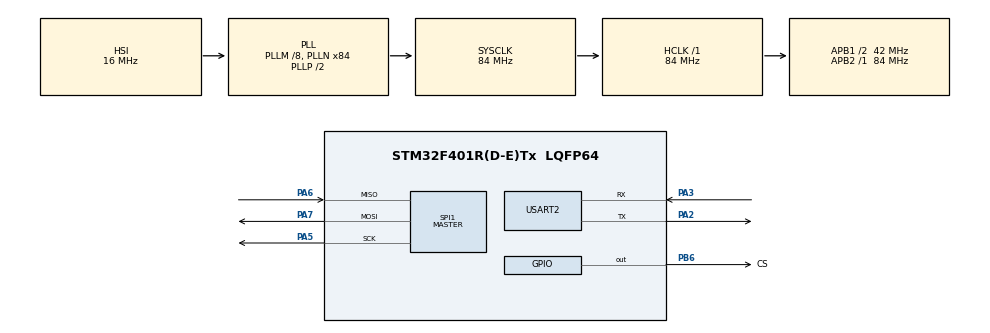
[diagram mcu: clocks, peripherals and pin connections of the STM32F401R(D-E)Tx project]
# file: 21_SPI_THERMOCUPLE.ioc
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Mcu.Family=STM32F4
Mcu.Name=STM32F401R(D-E)Tx
Mcu.Package=LQFP64
NVIC.PriorityGroup=NVIC_PRIORITYGROUP_4
PA13.Mode=Serial_Wire
PA13.Signal=SYS_JTMS-SWDIO
PA14.Mode=Serial_Wire
PA14.Signal=SYS_JTCK-SWCLK
PA2.Mode=Asynchronous
PA2.Signal=USART2_TX
PA3.Mode=Asynchronous
PA3.Signal=USART2_RX
PA5.Mode=Full_Duplex_Master
PA5.Signal=SPI1_SCK
PA6.Mode=Full_Duplex_Master
PA6.Signal=SPI1_MISO
PA7.Mode=Full_Duplex_Master
PA7.Signal=SPI1_MOSI
PB6.GPIO_Label=CS
PB6.PinState=GPIO_PIN_SET
PB6.Signal=GPIO_Output
PH0\ -\ OSC_IN.Mode=HSE-External-Clock-Source
PH0\ -\ OSC_IN.Signal=RCC_OSC_IN
PH1\ -\ OSC_OUT.Mode=HSE-External-Clock-Source
PH1\ -\ OSC_OUT.Signal=RCC_OSC_OUT
ProjectManager.HeapSize=0x200
ProjectManager.StackSize=0x400
ProjectManager.TargetToolchain=STM32CubeIDE
RCC.48MHZClocksFreq_Value=42000000
RCC.AHBFreq_Value=84000000
RCC.APB1CLKDivider=RCC_HCLK_DIV2
RCC.APB1Freq_Value=42000000
RCC.APB1TimFreq_Value=84000000
RCC.APB2Freq_Value=84000000
RCC.APB2TimFreq_Value=84000000
RCC.CortexFreq_Value=84000000
RCC.HCLKFreq_Value=84000000
RCC.HSE_VALUE=8000000
RCC.HSI_VALUE=16000000
RCC.LSE_VALUE=32768
RCC.PLLM=8
RCC.PLLN=84
RCC.SYSCLKFreq_VALUE=84000000
RCC.SYSCLKSource=RCC_SYSCLKSOURCE_PLLCLK
RCC.VCOOutputFreq_Value=168000000
SPI1.BaudRatePrescaler=SPI_BAUDRATEPRESCALER_16
SPI1.Direction=SPI_DIRECTION_2LINES
SPI1.Mode=SPI_MODE_MASTER
SPI1.VirtualType=VM_MASTER
USART2.VirtualMode=VM_ASYNC
board=custom

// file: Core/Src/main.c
/* USER CODE BEGIN Header */
/**
  ******************************************************************************
  * @file           : main.c
  * @brief          : Main program body
  ******************************************************************************
  * @attention
  *
  * Copyright (c) 2023 STMicroelectronics.
  * All rights reserved.
  *
  * This software is licensed under terms that can be found in the LICENSE file
  * in the root directory of this software component.
  * If no LICENSE file comes with this software, it is provided AS-IS.
  *
  ******************************************************************************
  */
/* USER CODE END Header */
#include "main.h"

/* USER CODE BEGIN Includes */
#include "string.h"
#include "stdio.h"
/* USER CODE END Includes */

SPI_HandleTypeDef hspi1;

UART_HandleTypeDef huart2;

/* USER CODE BEGIN PV */
uint8_t tramaH, tramaL;
uint8_t buffer[2];
uint16_t Trama;
float temperatura;
/* USER CODE END PV */

void SystemClock_Config(void);
static void MX_GPIO_Init(void);
static void MX_SPI1_Init(void);
static void MX_USART2_UART_Init(void);
/* USER CODE BEGIN PFP */
int __io_putchar(int ch){
	 HAL_UART_Transmit(&huart2,(const uint8_t *)&ch, 1, HAL_MAX_DELAY);
	 return ch;
}
/* USER CODE END PFP */

int main(void)
{

  /* MCU Configuration--------------------------------------------------------*/

  /* Reset of all peripherals, Initializes the Flash interface and the Systick. */
  HAL_Init();

  /* Configure the system clock */
  SystemClock_Config();

  /* Initialize all configured peripherals */
  MX_GPIO_Init();
  MX_SPI1_Init();
  MX_USART2_UART_Init();

  /* Infinite loop */
  /* USER CODE BEGIN WHILE */
  while (1)
  {

	  //iniciamos la comunicación
	  HAL_GPIO_WritePin(CS_GPIO_Port, CS_Pin, RESET); //enviamos al esclavo a nivel bajo

	  HAL_SPI_Receive(&hspi1, buffer, 2, 10); //10ms
	  tramaH = buffer[0];
	  tramaL = buffer[1];
	  Trama = (tramaH<<8)+tramaL;

	  //terminamos la comunicación
	  HAL_GPIO_WritePin(CS_GPIO_Port, CS_Pin, SET); //enviamos al esclavo a nivel alto

	  if(Trama & 0x04){
		  printf("Desconectado\n\r");

	  }
	  Trama >>= 3;
	  temperatura = Trama*0.25;
	  printf("Temperatura: %0.3f\n\r",temperatura);
	  HAL_Delay(500);
    /* USER CODE END WHILE */

  }
}

void SystemClock_Config(void)
{
  RCC_OscInitTypeDef RCC_OscInitStruct = {0};
  RCC_ClkInitTypeDef RCC_ClkInitStruct = {0};

  /** Configure the main internal regulator output voltage
  */
  __HAL_RCC_PWR_CLK_ENABLE();
  __HAL_PWR_VOLTAGESCALING_CONFIG(PWR_REGULATOR_VOLTAGE_SCALE2);

  /** Initializes the RCC Oscillators according to the specified parameters
  * in the RCC_OscInitTypeDef structure.
  */
  RCC_OscInitStruct.OscillatorType = RCC_OSCILLATORTYPE_HSI;
  RCC_OscInitStruct.HSIState = RCC_HSI_ON;
  RCC_OscInitStruct.HSICalibrationValue = RCC_HSICALIBRATION_DEFAULT;
  RCC_OscInitStruct.PLL.PLLState = RCC_PLL_ON;
  RCC_OscInitStruct.PLL.PLLSource = RCC_PLLSOURCE_HSI;
  RCC_OscInitStruct.PLL.PLLM = 8;
  RCC_OscInitStruct.PLL.PLLN = 84;
  RCC_OscInitStruct.PLL.PLLP = RCC_PLLP_DIV2;
  RCC_OscInitStruct.PLL.PLLQ = 4;
  if (HAL_RCC_OscConfig(&RCC_OscInitStruct) != HAL_OK)
  {
    Error_Handler();
  }

  /** Initializes the CPU, AHB and APB buses clocks
  */
  RCC_ClkInitStruct.ClockType = RCC_CLOCKTYPE_HCLK|RCC_CLOCKTYPE_SYSCLK
                              |RCC_CLOCKTYPE_PCLK1|RCC_CLOCKTYPE_PCLK2;
  RCC_ClkInitStruct.SYSCLKSource = RCC_SYSCLKSOURCE_PLLCLK;
  RCC_ClkInitStruct.AHBCLKDivider = RCC_SYSCLK_DIV1;
  RCC_ClkInitStruct.APB1CLKDivider = RCC_HCLK_DIV2;
  RCC_ClkInitStruct.APB2CLKDivider = RCC_HCLK_DIV1;

  if (HAL_RCC_ClockConfig(&RCC_ClkInitStruct, FLASH_LATENCY_2) != HAL_OK)
  {
    Error_Handler();
  }
}

static void MX_SPI1_Init(void)
{

  /* SPI1 parameter configuration*/
  hspi1.Instance = SPI1;
  hspi1.Init.Mode = SPI_MODE_MASTER;
  hspi1.Init.Direction = SPI_DIRECTION_2LINES;
  hspi1.Init.DataSize = SPI_DATASIZE_8BIT;
  hspi1.Init.CLKPolarity = SPI_POLARITY_LOW;
  hspi1.Init.CLKPhase = SPI_PHASE_1EDGE;
  hspi1.Init.NSS = SPI_NSS_SOFT;
  hspi1.Init.BaudRatePrescaler = SPI_BAUDRATEPRESCALER_16;
  hspi1.Init.FirstBit = SPI_FIRSTBIT_MSB;
  hspi1.Init.TIMode = SPI_TIMODE_DISABLE;
  hspi1.Init.CRCCalculation = SPI_CRCCALCULATION_DISABLE;
  hspi1.Init.CRCPolynomial = 10;
  if (HAL_SPI_Init(&hspi1) != HAL_OK)
  {
    Error_Handler();
  }

}

static void MX_USART2_UART_Init(void)
{

  huart2.Instance = USART2;
  huart2.Init.BaudRate = 115200;
  huart2.Init.WordLength = UART_WORDLENGTH_8B;
  huart2.Init.StopBits = UART_STOPBITS_1;
  huart2.Init.Parity = UART_PARITY_NONE;
  huart2.Init.Mode = UART_MODE_TX_RX;
  huart2.Init.HwFlowCtl = UART_HWCONTROL_NONE;
  huart2.Init.OverSampling = UART_OVERSAMPLING_16;
  if (HAL_UART_Init(&huart2) != HAL_OK)
  {
    Error_Handler();
  }

}

static void MX_GPIO_Init(void)
{
  GPIO_InitTypeDef GPIO_InitStruct = {0};

  /* GPIO Ports Clock Enable */
  __HAL_RCC_GPIOH_CLK_ENABLE();
  __HAL_RCC_GPIOA_CLK_ENABLE();
  __HAL_RCC_GPIOB_CLK_ENABLE();

  /*Configure GPIO pin Output Level */
  HAL_GPIO_WritePin(CS_GPIO_Port, CS_Pin, GPIO_PIN_SET);

  /*Configure GPIO pin : CS_Pin */
  GPIO_InitStruct.Pin = CS_Pin;
  GPIO_InitStruct.Mode = GPIO_MODE_OUTPUT_PP;
  GPIO_InitStruct.Pull = GPIO_NOPULL;
  GPIO_InitStruct.Speed = GPIO_SPEED_FREQ_LOW;
  HAL_GPIO_Init(CS_GPIO_Port, &GPIO_InitStruct);

}

void Error_Handler(void)
{
  __disable_irq();
  while (1)
  {
  }
}
